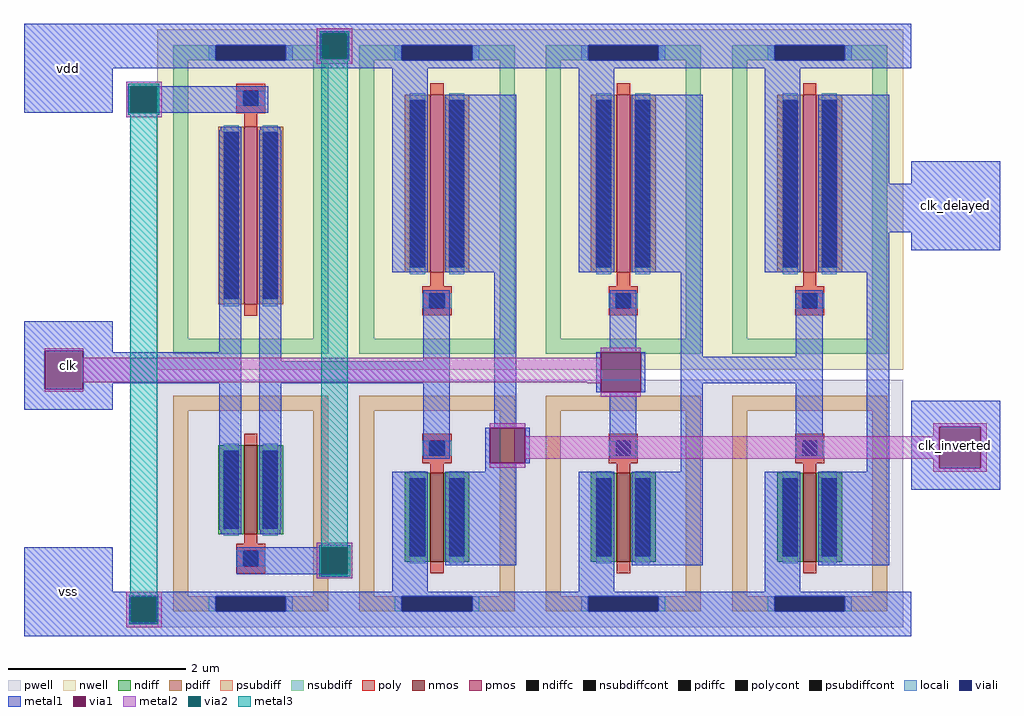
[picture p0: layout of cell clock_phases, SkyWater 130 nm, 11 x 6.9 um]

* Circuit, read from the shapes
.subckt clock_phases vdd clk_delayed clk clk_inverted vss
XM1 n1 vdd clk vss sky130_fd_pr__nfet_01v8 w=1 l=0.15
XM2 clk_inverted n1 vss vss sky130_fd_pr__nfet_01v8 w=1 l=0.15
XM3 n2 clk vss vss sky130_fd_pr__nfet_01v8 w=1 l=0.15
XM4 clk_delayed n2 vss vss sky130_fd_pr__nfet_01v8 w=1 l=0.15
XM5 n1 vss clk vdd sky130_fd_pr__pfet_01v8 w=2 l=0.15
XM6 clk_inverted n1 vdd vdd sky130_fd_pr__pfet_01v8 w=2 l=0.15
XM7 n2 clk vdd vdd sky130_fd_pr__pfet_01v8 w=2 l=0.15
XM8 clk_delayed n2 vdd vdd sky130_fd_pr__pfet_01v8 w=2 l=0.15
.ends

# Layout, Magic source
magic
tech sky130A
magscale 1 2
<< viali >>
rect 1232 -222 1390 -188
rect 1652 -222 1810 -188
rect 2072 -222 2230 -188
rect 2492 -222 2650 -188
rect 1232 -1464 1390 -1430
rect 1652 -1464 1810 -1430
rect 2072 -1464 2230 -1430
rect 2492 -1464 2650 -1430
<< metal1 >>
rect 800 -160 2800 -140
rect 800 -188 1470 -160
rect 800 -222 1232 -188
rect 1390 -220 1470 -188
rect 1530 -188 2800 -160
rect 1530 -220 1652 -188
rect 1390 -222 1652 -220
rect 1810 -222 2072 -188
rect 2230 -222 2492 -188
rect 2650 -222 2800 -188
rect 800 -240 2800 -222
rect 800 -340 1000 -240
rect 1034 -340 1040 -280
rect 1100 -340 1350 -280
rect 800 -877 1000 -810
rect 800 -963 847 -877
rect 933 -880 1000 -877
rect 1240 -880 1290 -380
rect 933 -950 1290 -880
rect 933 -963 1000 -950
rect 800 -1010 1000 -963
rect 1240 -1280 1290 -950
rect 1330 -900 1380 -380
rect 1630 -700 1710 -240
rect 1750 -700 1910 -300
rect 2050 -700 2130 -240
rect 2170 -700 2330 -300
rect 2470 -700 2550 -240
rect 2590 -500 2750 -300
rect 2800 -500 3000 -450
rect 2590 -610 3000 -500
rect 2590 -700 2750 -610
rect 2800 -650 3000 -610
rect 1700 -900 1760 -740
rect 1330 -950 1760 -900
rect 1330 -1280 1380 -950
rect 1700 -1120 1760 -950
rect 1860 -1050 1910 -700
rect 2120 -880 2180 -740
rect 2090 -970 2100 -880
rect 2190 -970 2200 -880
rect 2280 -890 2330 -700
rect 2540 -890 2600 -740
rect 2280 -950 2600 -890
rect 1840 -1130 1850 -1050
rect 1930 -1130 1940 -1050
rect 2120 -1120 2180 -970
rect 1840 -1150 1910 -1130
rect 2280 -1150 2330 -950
rect 2540 -1120 2600 -950
rect 2700 -1150 2750 -700
rect 1470 -1320 1530 -1314
rect 800 -1420 1000 -1320
rect 1280 -1380 1470 -1320
rect 1470 -1386 1530 -1380
rect 1630 -1420 1710 -1150
rect 1750 -1360 1910 -1150
rect 2050 -1420 2130 -1150
rect 2170 -1360 2330 -1150
rect 2470 -1420 2550 -1150
rect 2590 -1360 2750 -1150
rect 2800 -1048 3000 -990
rect 2800 -1142 2863 -1048
rect 2957 -1142 3000 -1048
rect 2800 -1190 3000 -1142
rect 800 -1430 2800 -1420
rect 800 -1490 1040 -1430
rect 1100 -1464 1232 -1430
rect 1390 -1464 1652 -1430
rect 1810 -1464 2072 -1430
rect 2230 -1464 2492 -1430
rect 2650 -1464 2800 -1430
rect 1100 -1490 2800 -1464
rect 800 -1520 2800 -1490
<< via1 >>
rect 1470 -220 1530 -160
rect 1040 -340 1100 -280
rect 847 -963 933 -877
rect 2100 -970 2190 -880
rect 1850 -1130 1930 -1050
rect 1470 -1380 1530 -1320
rect 2863 -1142 2957 -1048
rect 1040 -1490 1100 -1430
<< metal2 >>
rect 1460 -160 1540 -150
rect 1460 -220 1470 -160
rect 1530 -220 1540 -160
rect 1460 -230 1540 -220
rect 1030 -280 1110 -270
rect 1030 -340 1040 -280
rect 1100 -340 1110 -280
rect 1030 -350 1110 -340
rect 847 -877 933 -871
rect 2100 -880 2190 -870
rect 933 -948 2100 -892
rect 2070 -950 2100 -948
rect 847 -969 933 -963
rect 2100 -980 2190 -970
rect 1850 -1050 1930 -1040
rect 2850 -1048 2970 -1040
rect 2850 -1070 2863 -1048
rect 1930 -1120 2863 -1070
rect 1850 -1140 1930 -1130
rect 2850 -1142 2863 -1120
rect 2957 -1142 2970 -1048
rect 2850 -1150 2970 -1142
rect 1460 -1320 1540 -1310
rect 1460 -1380 1470 -1320
rect 1530 -1380 1540 -1320
rect 1460 -1390 1540 -1380
rect 1030 -1430 1110 -1420
rect 1030 -1490 1040 -1430
rect 1100 -1490 1110 -1430
rect 1030 -1500 1110 -1490
<< via2 >>
rect 1472 -218 1528 -162
rect 1040 -340 1100 -280
rect 1470 -1380 1530 -1320
rect 1042 -1488 1098 -1432
<< metal3 >>
rect 1467 -162 1533 -157
rect 1467 -218 1472 -162
rect 1528 -218 1533 -162
rect 1467 -223 1533 -218
rect 1035 -280 1105 -275
rect 1035 -340 1040 -280
rect 1100 -340 1105 -280
rect 1035 -345 1105 -340
rect 1040 -1427 1100 -345
rect 1470 -1315 1530 -223
rect 1465 -1320 1535 -1315
rect 1465 -1380 1470 -1320
rect 1530 -1380 1535 -1320
rect 1465 -1385 1535 -1380
rect 1037 -1432 1103 -1427
rect 1037 -1488 1042 -1432
rect 1098 -1488 1103 -1432
rect 1037 -1493 1103 -1488
use sky130_fd_pr__nfet_01v8_BXYDM4  sky130_fd_pr__nfet_01v8_BXYDM4_0
transform 1 0 2571 0 1 -1221
box -211 -279 211 279
use sky130_fd_pr__pfet_01v8_7P3MHC  sky130_fd_pr__pfet_01v8_7P3MHC_0
transform 1 0 2571 0 1 -536
box -211 -384 211 384
use sky130_fd_pr__nfet_01v8_BXYDM4  XM1
transform 1 0 2151 0 1 -1221
box -211 -279 211 279
use sky130_fd_pr__pfet_01v8_7P3MHC  XM4
transform 1 0 2151 0 1 -536
box -211 -384 211 384
use sky130_fd_pr__nfet_01v8_5WP7M2  XM5
transform 1 0 1311 0 1 -1221
box -211 -279 211 279
use sky130_fd_pr__pfet_01v8_NK3MHE  XM6
transform 1 0 1311 0 1 -536
box -211 -384 211 384
use sky130_fd_pr__nfet_01v8_BXYDM4  XM7
transform 1 0 1731 0 1 -1221
box -211 -279 211 279
use sky130_fd_pr__pfet_01v8_7P3MHC  XM8
transform 1 0 1731 0 1 -536
box -211 -384 211 384
<< labels >>
flabel metal1 800 -1520 1000 -1320 0 FreeSans 256 0 0 0 vss
port 4 nsew
flabel metal1 800 -340 1000 -140 0 FreeSans 256 0 0 0 vdd
port 0 nsew
flabel metal1 2800 -1190 3000 -990 0 FreeSans 256 0 0 0 clk_inverted
port 3 nsew
flabel metal1 2800 -650 3000 -450 0 FreeSans 256 0 0 0 clk_delayed
port 1 nsew
flabel metal1 800 -1010 1000 -810 0 FreeSans 256 0 0 0 clk
port 2 nsew
<< end >>

# cell sky130_fd_pr__nfet_01v8_BXYDM4: kit device sky130_fd_pr__nfet_01v8, w 1.0 l 0.15 m 1 nf 1 diffcov 100 polycov 100 guard 1 glc 0 grc 0 gtc 0 gbc 1 tbcov 100 rlcov 100 topc 1 botc 0 poverlap 0 doverlap 1 lmin 0.15 wmin 0.42 compatible {sky130_fd_pr__nfet_01v8 sky130_fd_pr__nfet_01v8_lvt sky130_fd_bs_flash__special_sonosfet_star sky130_fd_pr__nfet_g5v0d10v5 sky130_fd_pr__nfet_05v0_nvt sky130_fd_pr__nfet_03v3_nvt} full_metal 0 viasrc 100 viadrn 100 viagate 100 viagb 0 viagr 0 viagl 0 viagt 0

# cell sky130_fd_pr__pfet_01v8_7P3MHC: kit device sky130_fd_pr__pfet_01v8, w 2.0 l 0.15 m 1 nf 1 diffcov 100 polycov 100 guard 1 glc 0 grc 0 gtc 1 gbc 0 tbcov 100 rlcov 100 topc 0 botc 1 poverlap 0 doverlap 1 lmin 0.15 wmin 0.42 compatible {sky130_fd_pr__pfet_01v8 sky130_fd_pr__pfet_01v8_lvt sky130_fd_pr__pfet_01v8_hvt sky130_fd_pr__pfet_g5v0d10v5} full_metal 0 viasrc 100 viadrn 100 viagate 100 viagb 0 viagr 0 viagl 0 viagt 0

# cell sky130_fd_pr__nfet_01v8_5WP7M2: kit device sky130_fd_pr__nfet_01v8, w 1.0 l 0.15 m 1 nf 1 diffcov 100 polycov 100 guard 1 glc 0 grc 0 gtc 0 gbc 1 tbcov 100 rlcov 100 topc 0 botc 1 poverlap 0 doverlap 1 lmin 0.15 wmin 0.42 compatible {sky130_fd_pr__nfet_01v8 sky130_fd_pr__nfet_01v8_lvt sky130_fd_bs_flash__special_sonosfet_star sky130_fd_pr__nfet_g5v0d10v5 sky130_fd_pr__nfet_05v0_nvt sky130_fd_pr__nfet_03v3_nvt} full_metal 0 viasrc 100 viadrn 100 viagate 100 viagb 0 viagr 0 viagl 0 viagt 0

# cell sky130_fd_pr__pfet_01v8_NK3MHE: kit device sky130_fd_pr__pfet_01v8, w 2.0 l 0.15 m 1 nf 1 diffcov 100 polycov 100 guard 1 glc 0 grc 0 gtc 1 gbc 0 tbcov 100 rlcov 100 topc 1 botc 0 poverlap 0 doverlap 1 lmin 0.15 wmin 0.42 compatible {sky130_fd_pr__pfet_01v8 sky130_fd_pr__pfet_01v8_lvt sky130_fd_pr__pfet_01v8_hvt sky130_fd_pr__pfet_g5v0d10v5} full_metal 0 viasrc 100 viadrn 100 viagate 100 viagb 0 viagr 0 viagl 0 viagt 0
